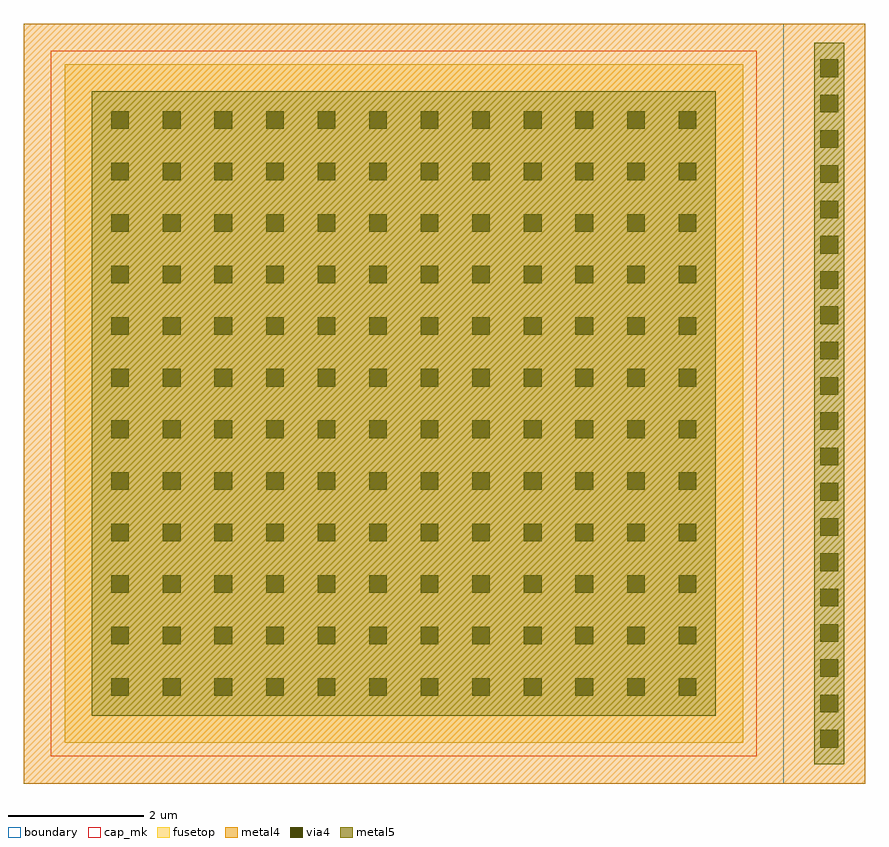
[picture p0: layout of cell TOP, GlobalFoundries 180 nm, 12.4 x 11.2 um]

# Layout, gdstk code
import gdstk
lib = gdstk.Library(unit=1e-6, precision=1e-09)
def R(c, l, rs):  # rectangles x0, y0, x1, y1
    for r in rs: c.add(gdstk.rectangle(r[:2], r[2:], *l))
def A(c, l, x, y, w, h, nx, ny, dx, dy):  # array of equal rectangles
    R(c, l, [(x+i*dx, y+j*dy, x+i*dx+w, y+j*dy+h) for i in range(nx) for j in range(ny)])
boundary = (0, 0)
via4 = (41, 0)
metal4 = (46, 0)
fusetop = (75, 0)
metal5 = (81, 0)
cap_mk = (117, 5)

cap_mim_2p0ff_yam5vy = lib.new_cell('cap_mim_2p0fF_YAM5VY')

top = lib.new_cell('TOP')
R(top, boundary, [(-0.31,12.445,10.89,23.645)])
A(top, via4, 11.43, 12.975, 0.26, 0.26, 1, 20, 0, 0.52)
A(top, via4, 0.98, 13.735, 0.26, 0.26, 12, 12, 0.76, 0.76)
R(top, metal4, [(-0.31,12.445,12.09,23.645)])
R(top, fusetop, [(0.29,13.045,10.29,23.045)])
R(top, metal5, [(11.34,12.73,11.78,23.36), (0.69,13.445,9.89,22.645)])
R(top, cap_mk, [(0.09,12.845,10.49,23.245)])
top.add(gdstk.Reference(cap_mim_2p0ff_yam5vy, (6.15,5.6)))

lib.write_gds('TOP.gds')
